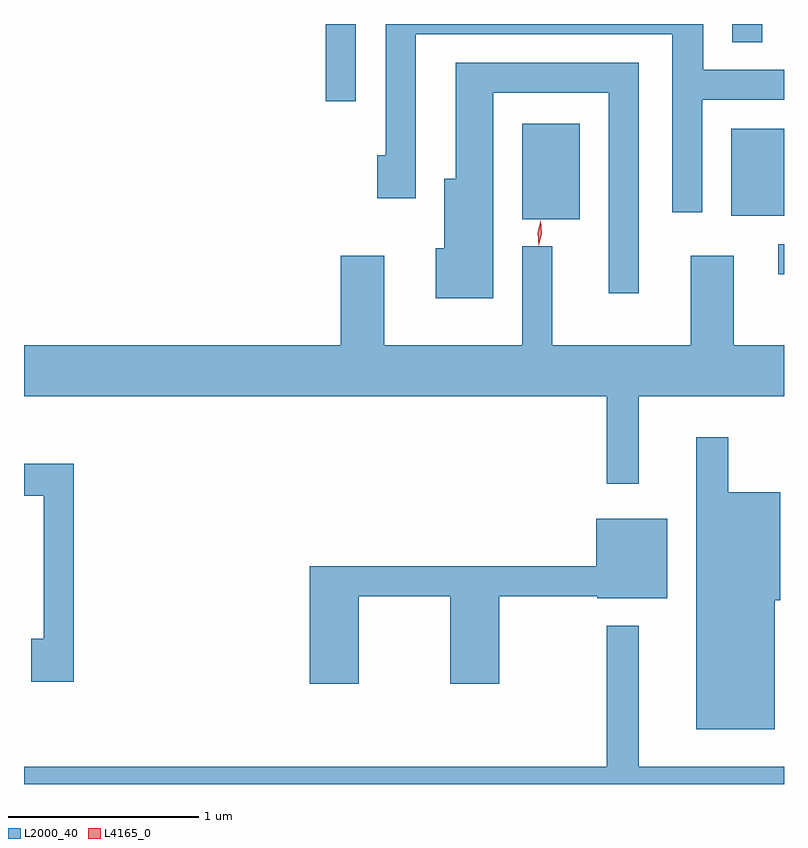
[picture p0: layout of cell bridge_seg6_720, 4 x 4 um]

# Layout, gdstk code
import gdstk
lib = gdstk.Library(unit=1e-6, precision=1e-09)
def R(c, l, rs):  # rectangles x0, y0, x1, y1
    for r in rs: c.add(gdstk.rectangle(r[:2], r[2:], *l))
def P(c, l, *ps):  # polygons
    for p in ps: c.add(gdstk.Polygon(p, *l))
L2000_40 = (2000, 40)
L4165_0 = (4165, 0)

bridge_seg6_720 = lib.new_cell('bridge_seg6_720')
R(bridge_seg6_720, L2000_40, [(607.713,1544.016,607.743,1544.174), (606.366,1544.306,606.669,1544.809), (607.466,1544.326,607.743,1544.784), (605.331,1544.928,605.489,1545.334), (607.471,1545.238,607.629,1545.334)])
P(bridge_seg6_720, L2000_40, [(607.314,1544.936),(607.743,1544.936),(607.743,1545.094),(607.319,1545.094),(607.319,1545.334),(605.646,1545.334),(605.646,1544.644),(605.601,1544.644),(605.601,1544.416),(605.804,1544.416),(605.804,1545.281),(607.156,1545.281),(607.156,1544.343),(607.314,1544.343)],
  [(606.214,1544.971),(606.821,1544.971),(606.821,1543.918),(606.979,1543.918),(606.979,1545.129),(606.016,1545.129),(606.016,1544.519),(605.956,1544.519),(605.956,1544.154),(605.911,1544.154),(605.911,1543.891),(606.214,1543.891)],
  [(606.979,1543.376),(607.743,1543.376),(607.743,1543.644),(607.479,1543.644),(607.479,1544.114),(607.251,1544.114),(607.251,1543.644),(606.524,1543.644),(606.524,1544.163),(606.366,1544.163),(606.366,1543.644),(605.639,1543.644),(605.639,1544.114),(605.411,1544.114),(605.411,1543.644),(603.743,1543.644),(603.743,1543.376),(606.811,1543.376),(606.811,1542.913),(606.979,1542.913)],
  [(607.694,1542.301),(607.724,1542.301),(607.724,1542.869),(607.449,1542.869),(607.449,1543.158),(607.281,1543.158),(607.281,1541.621),(607.694,1541.621)],
  [(604.004,1543.019),(603.745,1543.019),(603.745,1543.009),(603.743,1543.009),(603.743,1542.851),(603.846,1542.851),(603.846,1542.099),(603.781,1542.099),(603.781,1541.871),(604.004,1541.871)],
  [(605.504,1542.321),(605.986,1542.321),(605.986,1541.861),(606.244,1541.861),(606.244,1542.321),(606.76,1542.321),(606.76,1542.311),(607.129,1542.311),(607.129,1542.729),(606.756,1542.729),(606.756,1542.479),(605.246,1542.479),(605.246,1541.861),(605.504,1541.861)],
  [(607.743,1541.424),(606.979,1541.424),(606.979,1542.168),(606.811,1542.168),(606.811,1541.424),(603.743,1541.424),(603.743,1541.334),(607.743,1541.334)])
P(bridge_seg6_720, L4165_0, [(606.451,1544.168),(606.447,1544.235),(606.462,1544.3),(606.462,1544.3),(606.463,1544.3),(606.467,1544.233),(606.452,1544.168),(606.452,1544.168)])

lib.write_gds('bridge_seg6_720.gds')
